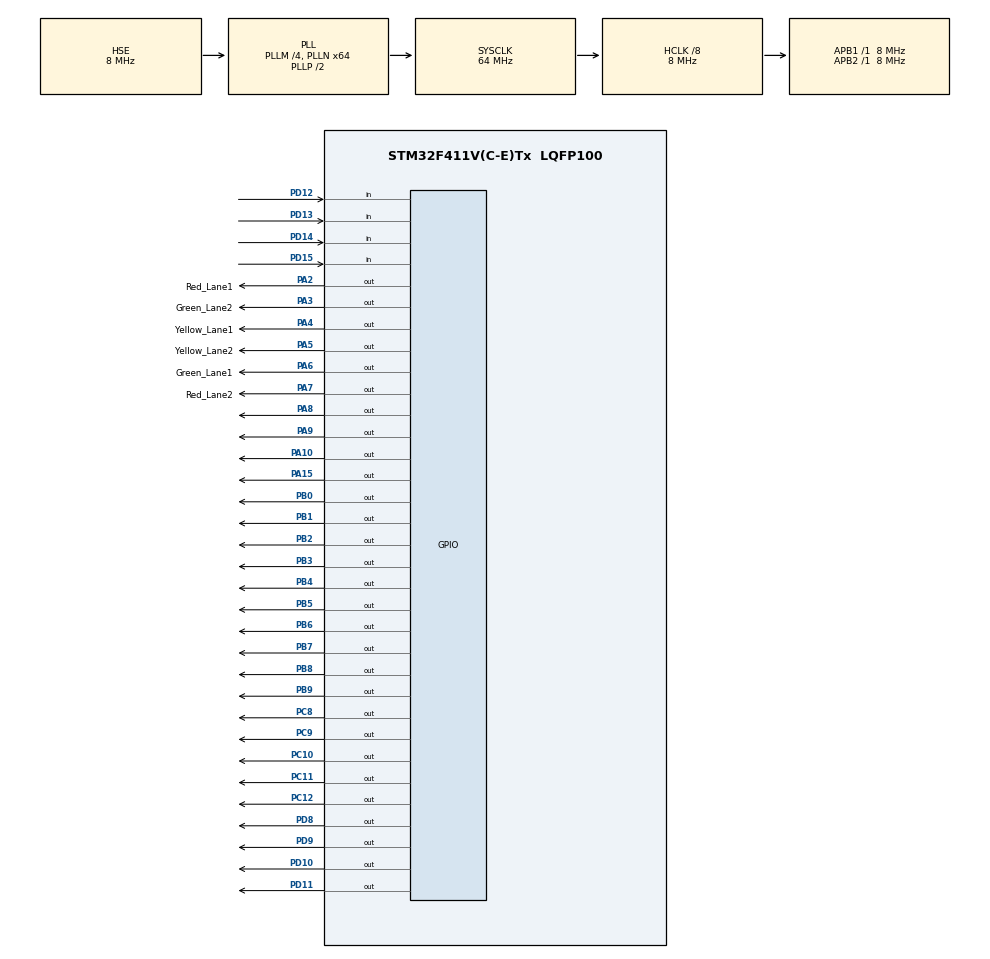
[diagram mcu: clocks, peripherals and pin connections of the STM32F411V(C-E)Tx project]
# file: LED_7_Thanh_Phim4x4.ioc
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Mcu.Family=STM32F4
Mcu.Name=STM32F411V(C-E)Tx
Mcu.Package=LQFP100
NVIC.PriorityGroup=NVIC_PRIORITYGROUP_4
NVIC.TIM2_IRQn=true\:1\:0\:true\:false\:true\:true\:true\:true
NVIC.TIM3_IRQn=true\:1\:0\:true\:false\:true\:true\:true\:true
PA10.Signal=GPIO_Output
PA13.Mode=Serial_Wire
PA13.Signal=SYS_JTMS-SWDIO
PA14.Mode=Serial_Wire
PA14.Signal=SYS_JTCK-SWCLK
PA15.Signal=GPIO_Output
PA2.GPIO_Label=Red_Lane1
PA2.Signal=GPIO_Output
PA3.GPIO_Label=Green_Lane2
PA3.Signal=GPIO_Output
PA4.GPIO_Label=Yellow_Lane1
PA4.Signal=GPIO_Output
PA5.GPIO_Label=Yellow_Lane2
PA5.Signal=GPIO_Output
PA6.GPIO_Label=Green_Lane1
PA6.Signal=GPIO_Output
PA7.GPIO_Label=Red_Lane2
PA7.Signal=GPIO_Output
PA8.Signal=GPIO_Output
PA9.Signal=GPIO_Output
PB0.GPIO_PuPd=GPIO_NOPULL
PB0.Signal=GPIO_Output
PB1.GPIO_PuPd=GPIO_NOPULL
PB1.Signal=GPIO_Output
PB2.GPIO_PuPd=GPIO_NOPULL
PB2.Signal=GPIO_Output
PB3.GPIO_PuPd=GPIO_NOPULL
PB3.Signal=GPIO_Output
PB4.GPIO_PuPd=GPIO_NOPULL
PB4.Signal=GPIO_Output
PB5.GPIO_PuPd=GPIO_NOPULL
PB5.Signal=GPIO_Output
PB6.GPIO_PuPd=GPIO_NOPULL
PB6.Signal=GPIO_Output
PB7.GPIO_PuPd=GPIO_NOPULL
PB7.Signal=GPIO_Output
PB8.PinState=GPIO_PIN_SET
PB8.Signal=GPIO_Output
PB9.PinState=GPIO_PIN_SET
PB9.Signal=GPIO_Output
PC10.Signal=GPIO_Output
PC11.Signal=GPIO_Output
PC12.Signal=GPIO_Output
PC8.Signal=GPIO_Output
PC9.Signal=GPIO_Output
PD10.Signal=GPIO_Output
PD11.Signal=GPIO_Output
PD12.GPIO_PuPd=GPIO_PULLDOWN
PD12.Signal=GPIO_Input
PD13.GPIO_PuPd=GPIO_PULLDOWN
PD13.Signal=GPIO_Input
PD14.GPIO_PuPd=GPIO_PULLDOWN
PD14.Signal=GPIO_Input
PD15.GPIO_PuPd=GPIO_PULLDOWN
PD15.Signal=GPIO_Input
PD8.Signal=GPIO_Output
PD9.Signal=GPIO_Output
PH0\ -\ OSC_IN.Mode=HSE-External-Oscillator
PH0\ -\ OSC_IN.Signal=RCC_OSC_IN
PH1\ -\ OSC_OUT.Mode=HSE-External-Oscillator
PH1\ -\ OSC_OUT.Signal=RCC_OSC_OUT
ProjectManager.HeapSize=0x200
ProjectManager.StackSize=0x400
ProjectManager.TargetToolchain=STM32CubeIDE
RCC.48MHZClocksFreq_Value=32000000
RCC.AHBCLKDivider=RCC_SYSCLK_DIV8
RCC.AHBFreq_Value=8000000
RCC.APB1Freq_Value=8000000
RCC.APB1TimFreq_Value=8000000
RCC.APB2Freq_Value=8000000
RCC.APB2TimFreq_Value=8000000
RCC.CortexFreq_Value=8000000
RCC.HCLKFreq_Value=8000000
RCC.HSE_VALUE=8000000
RCC.HSI_VALUE=16000000
RCC.LSE_VALUE=32768
RCC.PLLM=4
RCC.PLLN=64
RCC.PLLSourceVirtual=RCC_PLLSOURCE_HSE
RCC.SYSCLKFreq_VALUE=64000000
RCC.SYSCLKSource=RCC_SYSCLKSOURCE_PLLCLK
RCC.VCOOutputFreq_Value=128000000
TIM2.Period=999
TIM2.Prescaler=7999
TIM3.Period=99
TIM3.Prescaler=7999
VP_TIM2_VS_ClockSourceINT.Mode=Internal
VP_TIM3_VS_ClockSourceINT.Mode=Internal
board=custom

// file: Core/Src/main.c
/* USER CODE BEGIN Header */
/**
  ******************************************************************************
  * @file           : main.c
  * @brief          : Main program body
  ******************************************************************************
  * @attention
  *
  * Copyright (c) 2025 STMicroelectronics.
  * All rights reserved.
  *
  * This software is licensed under terms that can be found in the LICENSE file
  * in the root directory of this software component.
  * If no LICENSE file comes with this software, it is provided AS-IS.
  *
  ******************************************************************************
  */
/* USER CODE END Header */
#include "main.h"

/* USER CODE BEGIN Includes */
#include"string.h"
#include"stdlib.h"
/* USER CODE END Includes */

/* USER CODE BEGIN PD */
// Định nghĩa thời gian cho các đèn (tính bằng giây)
volatile uint8_t TIME_GREEN = 10;
volatile uint8_t TIME_YELLOW = 3;
volatile uint8_t TIME_RED = 13;
volatile uint8_t time_left_lane1 = 0;
volatile uint8_t time_left_lane2 = 0;
volatile uint8_t flag_scan_keypad = 0;
volatile uint8_t adjust_mode = 0; // Biến để kích hoạt chế độ điều chỉnh
volatile uint8_t new_green_time = 0; // Lưu thời gian mới cho đèn xanh
volatile uint8_t new_yellow_time = 0; // Lưu thời gian mới cho đèn vàng
volatile uint8_t input_step = 0; // 0: nhập xanh, 1: nhập vàng
volatile uint8_t c_pressed = 0; // Biến theo dõi trạng thái phím 'C'
// Định nghĩa các trạng thái
enum TrafficState {
    STATE1_L1_GREEN_L2_RED,
    STATE2_L1_YELLOW_L2_RED,
    STATE3_L1_RED_L2_GREEN,
    STATE4_L1_RED_L2_YELLOW
};
/* USER CODE END PD */

/* USER CODE BEGIN PM */

#define row1 GPIO_PIN_8
#define row2 GPIO_PIN_9
#define row3 GPIO_PIN_10
#define row4 GPIO_PIN_11

#define col1 GPIO_PIN_12
#define col2 GPIO_PIN_13
#define col3 GPIO_PIN_14
#define col4 GPIO_PIN_15

//static uint8_t time_receive=15;
uint8_t system_started = 0;  // 0 = chưa bắt đầu, 1 = đã nhấn A và bắt đầu
uint8_t mode=0;
uint8_t cnt=0;
char key_adjust=0;
char key_press=0;
static char key_pressed=0;
char led7[10]={0xFC,0x60,0xDA,0xF2,0x66,0xB6,0xBE,0xE0,0xFE,0xF6};
uint16_t row[4]={row1,row2,row3,row4};
uint16_t col[4]={col1,col2,col3,col4};
char buffer[2];
uint8_t buffer_index=0;
char key_pad[4][4]=
{
		{'1','2','3','A'},
		{'4','5','6','B'},
		{'7','8','9','C'},
		{'*','0','#','D'}
};
/* USER CODE END PM */

TIM_HandleTypeDef htim2;
TIM_HandleTypeDef htim3;

/* USER CODE BEGIN PV */
// Biến toàn cục để lưu trạng thái hiện tại và bộ đếm thời gian
volatile enum TrafficState currentState = STATE1_L1_GREEN_L2_RED;
volatile uint8_t timer_counter = 0;
/* USER CODE END PV */

void SystemClock_Config(void);
static void MX_GPIO_Init(void);
static void MX_TIM3_Init(void);
static void MX_TIM2_Init(void);

/* USER CODE BEGIN 0 */
void setLightState(enum TrafficState state) {
    // Tắt hết đèn trước khi bật trạng thái mới để tránh xung đột
    // Lưu ý: Tất cả các chân đều thuộc GPIOA

		HAL_GPIO_WritePin(GPIOA, Red_Lane1_Pin|Yellow_Lane1_Pin|Green_Lane1_Pin, GPIO_PIN_RESET);
		HAL_GPIO_WritePin(GPIOA, Red_Lane2_Pin|Yellow_Lane2_Pin|Green_Lane2_Pin, GPIO_PIN_RESET);

		switch (state) {
			case STATE1_L1_GREEN_L2_RED:
				// Làn 1 Xanh, Làn 2 Đỏ
				HAL_GPIO_WritePin(Green_Lane1_GPIO_Port, Green_Lane1_Pin, GPIO_PIN_SET);
				HAL_GPIO_WritePin(Red_Lane2_GPIO_Port, Red_Lane2_Pin, GPIO_PIN_SET);
				break;

			case STATE2_L1_YELLOW_L2_RED:
				// Làn 1 Vàng, Làn 2 Đỏ
				HAL_GPIO_WritePin(Yellow_Lane1_GPIO_Port, Yellow_Lane1_Pin, GPIO_PIN_SET);
				HAL_GPIO_WritePin(Red_Lane2_GPIO_Port, Red_Lane2_Pin, GPIO_PIN_SET);
				break;

			case STATE3_L1_RED_L2_GREEN:
				// Làn 1 Đỏ, Làn 2 Xanh
				HAL_GPIO_WritePin(Red_Lane1_GPIO_Port, Red_Lane1_Pin, GPIO_PIN_SET);
				HAL_GPIO_WritePin(Green_Lane2_GPIO_Port, Green_Lane2_Pin, GPIO_PIN_SET);
				break;

			case STATE4_L1_RED_L2_YELLOW:
				// Làn 1 Đỏ, Làn 2 Vàng
				HAL_GPIO_WritePin(Red_Lane1_GPIO_Port, Red_Lane1_Pin, GPIO_PIN_SET);
				HAL_GPIO_WritePin(Yellow_Lane2_GPIO_Port, Yellow_Lane2_Pin, GPIO_PIN_SET);
				break;

	}

}
void scan_keypad(void)
{
    for(uint8_t i = 0; i < 4; i++)
    {
        HAL_GPIO_WritePin(GPIOD, row[i], GPIO_PIN_SET);
        for(uint8_t j = 0; j < 4; j++)
        {
            if(HAL_GPIO_ReadPin(GPIOD, col[j]) == GPIO_PIN_SET)
            {
                key_press = key_pad[i][j];
                key_pressed = key_press;

                // Nếu đang ở chế độ chỉnh giờ thì gán riêng ra key_adjust
                if (adjust_mode)
                    key_adjust = key_press;

                while(HAL_GPIO_ReadPin(GPIOD, col[j]) == GPIO_PIN_SET);
            }
            else key_press = 0;
        }
        HAL_GPIO_WritePin(GPIOD, row[i], GPIO_PIN_RESET);
    }
}
void processTwoDigitInput() {
    if (buffer_index == 2) {
        uint8_t value = (buffer[0] - '0') * 10 + (buffer[1] - '0');
        buffer_index = 0; // Reset buffer index
        memset(buffer, 0, sizeof(buffer)); // Xóa buffer

        if (input_step == 0) {
            new_green_time = value; // Gán giá trị cho đèn xanh
            input_step = 1; // Chuyển sang nhập thời gian vàng
        } else if (input_step == 1) {
            new_yellow_time = value; // Gán giá trị cho đèn vàng
            input_step = 0; // Reset bước nhập
            adjust_mode = 0; // Thoát chế độ điều chỉnh

            // Cập nhật thời gian vào biến toàn cục
            TIME_GREEN = new_green_time;
            TIME_YELLOW = new_yellow_time;
            TIME_RED = TIME_GREEN + TIME_YELLOW; // Tự động tính thời gian đỏ
        }
    }
}
void string_keypad() {
    if (adjust_mode && key_adjust != 0 && buffer_index < 2) {
        if (key_adjust >= '0' && key_adjust <= '9') {
            buffer[buffer_index] = key_adjust;
            buffer_index++;
            if (buffer_index == 2) {
                processTwoDigitInput();
            }
        }
        key_adjust = 0; // ✅ Reset sau khi xử lý xong để tránh lặp
    } else if (key_pressed != 0) {
        if (key_pressed == '#') {
            mode = 0;
            adjust_mode = 0;
            input_step = 0;
            buffer_index = 0;
            memset(buffer, 0, sizeof(buffer));
        } else if (key_pressed == 'C') {
            c_pressed = 1;
        }
    }
}

void led7dispaly(int number)
{
	uint8_t digit=led7[number];
	HAL_GPIO_WritePin(GPIOB, GPIO_PIN_0, digit>>7 & 0x01  ); //A
	HAL_GPIO_WritePin(GPIOB, GPIO_PIN_1, digit>>6 & 0x01  ); //B
	HAL_GPIO_WritePin(GPIOB, GPIO_PIN_2, digit>>5 & 0x01  ); //C
	HAL_GPIO_WritePin(GPIOB, GPIO_PIN_3, digit>>4 & 0x01  ); //D
	HAL_GPIO_WritePin(GPIOB, GPIO_PIN_4, digit>>3 & 0x01  ); //E
	HAL_GPIO_WritePin(GPIOB, GPIO_PIN_5, digit>>2 & 0x01  ); //F
	HAL_GPIO_WritePin(GPIOB, GPIO_PIN_6, digit>>1 & 0x01  ); //G
}
void led7dispaly_1(int number)
{
	uint8_t digit=led7[number];
	HAL_GPIO_WritePin(GPIOA, GPIO_PIN_8, digit>>7 & 0x01  ); //A
	HAL_GPIO_WritePin(GPIOA, GPIO_PIN_9, digit>>6 & 0x01  ); //B
	HAL_GPIO_WritePin(GPIOA, GPIO_PIN_10, digit>>5 & 0x01  ); //C
	HAL_GPIO_WritePin(GPIOA, GPIO_PIN_15, digit>>4 & 0x01  ); //D
	HAL_GPIO_WritePin(GPIOC, GPIO_PIN_10, digit>>3 & 0x01  ); //E
	HAL_GPIO_WritePin(GPIOC, GPIO_PIN_11, digit>>2 & 0x01  ); //F
	HAL_GPIO_WritePin(GPIOC, GPIO_PIN_12, digit>>1 & 0x01  ); //G
}
void quetLed_combined(uint8_t a,uint8_t b)	//tạo hàm 2 số tương ứng 2 làn( cái này chắc phải update thêm khi có đèn xanh và vàng )
{
    uint8_t chuc = a / 10;
    uint8_t donvi = a % 10;

    uint8_t chuc_1 = b / 10;
	uint8_t donvi_1 = b % 10;
    // Hiển thị chữ số đơn vị trên màn hình đầu tiên (GPIOB)
    HAL_GPIO_WritePin(GPIOB, GPIO_PIN_8, GPIO_PIN_RESET);
    HAL_GPIO_WritePin(GPIOB, GPIO_PIN_9, GPIO_PIN_SET);
    led7dispaly(donvi); // Màn hình đầu tiên
    HAL_Delay(1);

    // Hiển thị chữ số chục trên màn hình đầu tiên (GPIOB)	//Đây là làn 1 thì v ới PB8 và PB9 là đơn vị và chục
    HAL_GPIO_WritePin(GPIOB, GPIO_PIN_9, GPIO_PIN_RESET);
    HAL_GPIO_WritePin(GPIOB, GPIO_PIN_8, GPIO_PIN_SET);
    led7dispaly(chuc); // Màn hình đầu tiên
    HAL_Delay(1);

    // Hiển thị chữ số đơn vị trên màn hình thứ hai (GPIOA/GPIOC)	////Đây là làn 2 thì v ới PC8 và PC9 là đơn vị và chục
    HAL_GPIO_WritePin(GPIOC, GPIO_PIN_8, GPIO_PIN_RESET);
    HAL_GPIO_WritePin(GPIOC, GPIO_PIN_9, GPIO_PIN_SET);
    led7dispaly_1(donvi_1); // Màn hình thứ hai
    HAL_Delay(1);

    // Hiển thị chữ số chục trên màn hình thứ hai (GPIOA/GPIOC)
    HAL_GPIO_WritePin(GPIOC, GPIO_PIN_9, GPIO_PIN_RESET);
    HAL_GPIO_WritePin(GPIOC, GPIO_PIN_8, GPIO_PIN_SET);
    led7dispaly_1(chuc_1); // Màn hình thứ hai
    HAL_Delay(1);
}
void turnoff_led()
{
	HAL_GPIO_WritePin(GPIOC, GPIO_PIN_9, GPIO_PIN_SET);
	HAL_GPIO_WritePin(GPIOC, GPIO_PIN_8, GPIO_PIN_SET);
	HAL_GPIO_WritePin(GPIOB, GPIO_PIN_9, GPIO_PIN_SET);
	HAL_GPIO_WritePin(GPIOB, GPIO_PIN_8, GPIO_PIN_SET);
	HAL_GPIO_WritePin(GPIOA, Red_Lane1_Pin|Yellow_Lane1_Pin|Green_Lane1_Pin, GPIO_PIN_RESET);
	HAL_GPIO_WritePin(GPIOA, Red_Lane2_Pin|Yellow_Lane2_Pin|Green_Lane2_Pin, GPIO_PIN_RESET);
}
//void lan1_2(uint8_t counter,uint8_t timeLine)
//{
//	static time = timeLine;
//	if(counter == 10)
//	{
//		time--;
//	}
//	if(time == 0)
//	{
//		time = timeLine;
//	}
//}
void HAL_TIM_PeriodElapsedCallback(TIM_HandleTypeDef *htim)
{
	if(key_pressed=='B'||key_pressed=='C')
		    {
		system_started=0;
		    }
	if (htim->Instance == TIM2) {
	    if (key_pressed == 'A' && system_started == 0) {
	        system_started = 1;
	        currentState = STATE1_L1_GREEN_L2_RED;
	        setLightState(currentState);
	        timer_counter = 0;
	    }

	    if (system_started == 1 &&key_pressed !='B'&&key_pressed !='C') {
	        timer_counter++;

	        switch (currentState) {
	            case STATE1_L1_GREEN_L2_RED:
	                time_left_lane1 = TIME_GREEN - timer_counter;
	                time_left_lane2 = TIME_RED - timer_counter;
	                if (timer_counter >= TIME_GREEN) {
	                    currentState = STATE2_L1_YELLOW_L2_RED;
	                    setLightState(currentState);
	                    timer_counter = 0;
	                }
	                break;

	            case STATE2_L1_YELLOW_L2_RED:
	                time_left_lane1 = TIME_YELLOW - timer_counter;
	                time_left_lane2 = TIME_YELLOW - timer_counter;
	                if (timer_counter >= TIME_YELLOW) {
	                    currentState = STATE3_L1_RED_L2_GREEN;
	                    setLightState(currentState);
	                    timer_counter = 0;
	                }
	                break;

	            case STATE3_L1_RED_L2_GREEN:
	                time_left_lane1 = TIME_RED - timer_counter;
	                time_left_lane2 = TIME_GREEN - timer_counter;
	                if (timer_counter >= TIME_GREEN) {
	                    currentState = STATE4_L1_RED_L2_YELLOW;
	                    setLightState(currentState);
	                    timer_counter = 0;
	                }
	                break;

	            case STATE4_L1_RED_L2_YELLOW:
	                time_left_lane1 = TIME_YELLOW - timer_counter;
	                time_left_lane2 = TIME_YELLOW - timer_counter;
	                if (timer_counter >= TIME_YELLOW) {
	                    currentState = STATE1_L1_GREEN_L2_RED;
	                    setLightState(currentState);
	                    timer_counter = 0;
	                }
	                break;
	        }
	    }
	}

	if (htim->Instance == TIM3) {
	        flag_scan_keypad = 1;
	        if (key_pressed == '*') {
	            if (c_pressed && system_started == 0) { // Kích hoạt chế độ điều chỉnh khi đã nhấn 'C' trước
	                adjust_mode = 1;
	                buffer_index = 0; // Reset buffer
	                new_green_time = 0;
	                new_yellow_time = 0;
	                input_step = 0; // Bắt đầu nhập thời gian xanh
	                c_pressed = 0; // Reset trạng thái 'C' sau khi dùng
	            }
	        }
	    }
	}

/* USER CODE END 0 */

int main(void)
{

  /* MCU Configuration--------------------------------------------------------*/

  /* Reset of all peripherals, Initializes the Flash interface and the Systick. */
  HAL_Init();

  /* Configure the system clock */
  SystemClock_Config();

  /* Initialize all configured peripherals */
  MX_GPIO_Init();
  MX_TIM3_Init();
  MX_TIM2_Init();
  /* USER CODE BEGIN 2 */
  HAL_TIM_Base_Start_IT(&htim3);
  HAL_TIM_Base_Start_IT(&htim2);

//	  setLightState(currentState);  // Gọi đúng đèn ngay từ đầu

  /* USER CODE END 2 */

  /* Infinite loop */
  /* USER CODE BEGIN WHILE */
while (1)
  {
	if(flag_scan_keypad){
	        flag_scan_keypad = 0;
	        scan_keypad();
	        string_keypad();
	    }
	if(key_pressed=='A')
	{
		quetLed_combined(time_left_lane1, time_left_lane2);
	}
	if(key_pressed=='B')
	{
		turnoff_led();
		HAL_GPIO_TogglePin(GPIOA, Yellow_Lane1_Pin);
		HAL_GPIO_TogglePin(GPIOA, Yellow_Lane2_Pin);
		HAL_Delay(200);
		HAL_GPIO_TogglePin(GPIOA, Yellow_Lane1_Pin);
		HAL_GPIO_TogglePin(GPIOA, Yellow_Lane2_Pin);
		HAL_Delay(200);

	}
	if(key_pressed=='C')
	{
		turnoff_led();
	}
	key_adjust=0;
    /* USER CODE END WHILE */

  }
}

void SystemClock_Config(void)
{
  RCC_OscInitTypeDef RCC_OscInitStruct = {0};
  RCC_ClkInitTypeDef RCC_ClkInitStruct = {0};

  /** Configure the main internal regulator output voltage
  */
  __HAL_RCC_PWR_CLK_ENABLE();
  __HAL_PWR_VOLTAGESCALING_CONFIG(PWR_REGULATOR_VOLTAGE_SCALE1);

  /** Initializes the RCC Oscillators according to the specified parameters
  * in the RCC_OscInitTypeDef structure.
  */
  RCC_OscInitStruct.OscillatorType = RCC_OSCILLATORTYPE_HSE;
  RCC_OscInitStruct.HSEState = RCC_HSE_ON;
  RCC_OscInitStruct.PLL.PLLState = RCC_PLL_ON;
  RCC_OscInitStruct.PLL.PLLSource = RCC_PLLSOURCE_HSE;
  RCC_OscInitStruct.PLL.PLLM = 4;
  RCC_OscInitStruct.PLL.PLLN = 64;
  RCC_OscInitStruct.PLL.PLLP = RCC_PLLP_DIV2;
  RCC_OscInitStruct.PLL.PLLQ = 4;
  if (HAL_RCC_OscConfig(&RCC_OscInitStruct) != HAL_OK)
  {
    Error_Handler();
  }

  /** Initializes the CPU, AHB and APB buses clocks
  */
  RCC_ClkInitStruct.ClockType = RCC_CLOCKTYPE_HCLK|RCC_CLOCKTYPE_SYSCLK
                              |RCC_CLOCKTYPE_PCLK1|RCC_CLOCKTYPE_PCLK2;
  RCC_ClkInitStruct.SYSCLKSource = RCC_SYSCLKSOURCE_PLLCLK;
  RCC_ClkInitStruct.AHBCLKDivider = RCC_SYSCLK_DIV8;
  RCC_ClkInitStruct.APB1CLKDivider = RCC_HCLK_DIV1;
  RCC_ClkInitStruct.APB2CLKDivider = RCC_HCLK_DIV1;

  if (HAL_RCC_ClockConfig(&RCC_ClkInitStruct, FLASH_LATENCY_0) != HAL_OK)
  {
    Error_Handler();
  }
}

static void MX_TIM2_Init(void)
{

  TIM_ClockConfigTypeDef sClockSourceConfig = {0};
  TIM_MasterConfigTypeDef sMasterConfig = {0};

  htim2.Instance = TIM2;
  htim2.Init.Prescaler = 7999;
  htim2.Init.CounterMode = TIM_COUNTERMODE_UP;
  htim2.Init.Period = 999;
  htim2.Init.ClockDivision = TIM_CLOCKDIVISION_DIV1;
  htim2.Init.AutoReloadPreload = TIM_AUTORELOAD_PRELOAD_DISABLE;
  if (HAL_TIM_Base_Init(&htim2) != HAL_OK)
  {
    Error_Handler();
  }
  sClockSourceConfig.ClockSource = TIM_CLOCKSOURCE_INTERNAL;
  if (HAL_TIM_ConfigClockSource(&htim2, &sClockSourceConfig) != HAL_OK)
  {
    Error_Handler();
  }
  sMasterConfig.MasterOutputTrigger = TIM_TRGO_RESET;
  sMasterConfig.MasterSlaveMode = TIM_MASTERSLAVEMODE_DISABLE;
  if (HAL_TIMEx_MasterConfigSynchronization(&htim2, &sMasterConfig) != HAL_OK)
  {
    Error_Handler();
  }

}

static void MX_TIM3_Init(void)
{

  TIM_ClockConfigTypeDef sClockSourceConfig = {0};
  TIM_MasterConfigTypeDef sMasterConfig = {0};

  htim3.Instance = TIM3;
  htim3.Init.Prescaler = 7999;
  htim3.Init.CounterMode = TIM_COUNTERMODE_UP;
  htim3.Init.Period = 99;
  htim3.Init.ClockDivision = TIM_CLOCKDIVISION_DIV1;
  htim3.Init.AutoReloadPreload = TIM_AUTORELOAD_PRELOAD_DISABLE;
  if (HAL_TIM_Base_Init(&htim3) != HAL_OK)
  {
    Error_Handler();
  }
  sClockSourceConfig.ClockSource = TIM_CLOCKSOURCE_INTERNAL;
  if (HAL_TIM_ConfigClockSource(&htim3, &sClockSourceConfig) != HAL_OK)
  {
    Error_Handler();
  }
  sMasterConfig.MasterOutputTrigger = TIM_TRGO_RESET;
  sMasterConfig.MasterSlaveMode = TIM_MASTERSLAVEMODE_DISABLE;
  if (HAL_TIMEx_MasterConfigSynchronization(&htim3, &sMasterConfig) != HAL_OK)
  {
    Error_Handler();
  }

}

static void MX_GPIO_Init(void)
{
  GPIO_InitTypeDef GPIO_InitStruct = {0};

  /* GPIO Ports Clock Enable */
  __HAL_RCC_GPIOH_CLK_ENABLE();
  __HAL_RCC_GPIOA_CLK_ENABLE();
  __HAL_RCC_GPIOB_CLK_ENABLE();
  __HAL_RCC_GPIOD_CLK_ENABLE();
  __HAL_RCC_GPIOC_CLK_ENABLE();

  /*Configure GPIO pin Output Level */
  HAL_GPIO_WritePin(GPIOA, Red_Lane1_Pin|Green_Lane2_Pin|Yellow_Lane1_Pin|Yellow_Lane2_Pin
                          |Green_Lane1_Pin|Red_Lane2_Pin|GPIO_PIN_8|GPIO_PIN_9
                          |GPIO_PIN_10|GPIO_PIN_15, GPIO_PIN_RESET);

  /*Configure GPIO pin Output Level */
  HAL_GPIO_WritePin(GPIOB, GPIO_PIN_0|GPIO_PIN_1|GPIO_PIN_2|GPIO_PIN_3
                          |GPIO_PIN_4|GPIO_PIN_5|GPIO_PIN_6|GPIO_PIN_7, GPIO_PIN_RESET);

  /*Configure GPIO pin Output Level */
  HAL_GPIO_WritePin(GPIOD, GPIO_PIN_8|GPIO_PIN_9|GPIO_PIN_10|GPIO_PIN_11, GPIO_PIN_RESET);

  /*Configure GPIO pin Output Level */
  HAL_GPIO_WritePin(GPIOC, GPIO_PIN_8|GPIO_PIN_9|GPIO_PIN_10|GPIO_PIN_11
                          |GPIO_PIN_12, GPIO_PIN_RESET);

  /*Configure GPIO pin Output Level */
  HAL_GPIO_WritePin(GPIOB, GPIO_PIN_8|GPIO_PIN_9, GPIO_PIN_SET);

  /*Configure GPIO pins : Red_Lane1_Pin Green_Lane2_Pin Yellow_Lane1_Pin Yellow_Lane2_Pin
                           Green_Lane1_Pin Red_Lane2_Pin PA8 PA9
                           PA10 PA15 */
  GPIO_InitStruct.Pin = Red_Lane1_Pin|Green_Lane2_Pin|Yellow_Lane1_Pin|Yellow_Lane2_Pin
                          |Green_Lane1_Pin|Red_Lane2_Pin|GPIO_PIN_8|GPIO_PIN_9
                          |GPIO_PIN_10|GPIO_PIN_15;
  GPIO_InitStruct.Mode = GPIO_MODE_OUTPUT_PP;
  GPIO_InitStruct.Pull = GPIO_NOPULL;
  GPIO_InitStruct.Speed = GPIO_SPEED_FREQ_LOW;
  HAL_GPIO_Init(GPIOA, &GPIO_InitStruct);

  /*Configure GPIO pins : PB0 PB1 PB2 PB3
                           PB4 PB5 PB6 PB7
                           PB8 PB9 */
  GPIO_InitStruct.Pin = GPIO_PIN_0|GPIO_PIN_1|GPIO_PIN_2|GPIO_PIN_3
                          |GPIO_PIN_4|GPIO_PIN_5|GPIO_PIN_6|GPIO_PIN_7
                          |GPIO_PIN_8|GPIO_PIN_9;
  GPIO_InitStruct.Mode = GPIO_MODE_OUTPUT_PP;
  GPIO_InitStruct.Pull = GPIO_NOPULL;
  GPIO_InitStruct.Speed = GPIO_SPEED_FREQ_LOW;
  HAL_GPIO_Init(GPIOB, &GPIO_InitStruct);

  /*Configure GPIO pins : PD8 PD9 PD10 PD11 */
  GPIO_InitStruct.Pin = GPIO_PIN_8|GPIO_PIN_9|GPIO_PIN_10|GPIO_PIN_11;
  GPIO_InitStruct.Mode = GPIO_MODE_OUTPUT_PP;
  GPIO_InitStruct.Pull = GPIO_NOPULL;
  GPIO_InitStruct.Speed = GPIO_SPEED_FREQ_LOW;
  HAL_GPIO_Init(GPIOD, &GPIO_InitStruct);

  /*Configure GPIO pins : PD12 PD13 PD14 PD15 */
  GPIO_InitStruct.Pin = GPIO_PIN_12|GPIO_PIN_13|GPIO_PIN_14|GPIO_PIN_15;
  GPIO_InitStruct.Mode = GPIO_MODE_INPUT;
  GPIO_InitStruct.Pull = GPIO_PULLDOWN;
  HAL_GPIO_Init(GPIOD, &GPIO_InitStruct);

  /*Configure GPIO pins : PC8 PC9 PC10 PC11
                           PC12 */
  GPIO_InitStruct.Pin = GPIO_PIN_8|GPIO_PIN_9|GPIO_PIN_10|GPIO_PIN_11
                          |GPIO_PIN_12;
  GPIO_InitStruct.Mode = GPIO_MODE_OUTPUT_PP;
  GPIO_InitStruct.Pull = GPIO_NOPULL;
  GPIO_InitStruct.Speed = GPIO_SPEED_FREQ_LOW;
  HAL_GPIO_Init(GPIOC, &GPIO_InitStruct);

}

void Error_Handler(void)
{
  __disable_irq();
  while (1)
  {
  }
}
